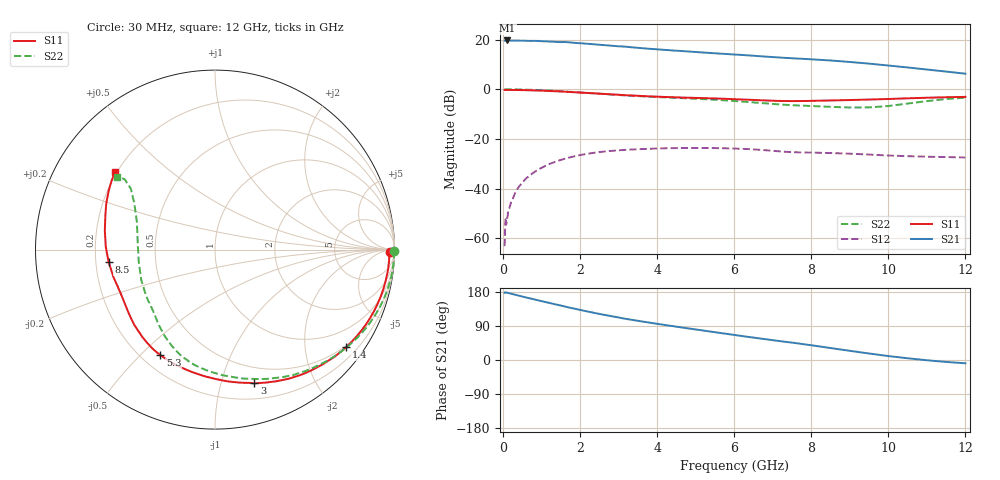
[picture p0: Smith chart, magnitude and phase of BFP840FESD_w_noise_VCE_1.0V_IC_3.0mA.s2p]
! Infineon Technologies  Discrete & RF Semiconductors
! BFP840FESD
! VCE =  1.0 V,  IC =  3.0 mA
! Common Emitter S-Parameters:  May 2012
# GHz  S  MA  R  50
!  f  S11  S21  S12  S22
! GHz  MAG  ANG  MAG  ANG  MAG  ANG  MAG  ANG
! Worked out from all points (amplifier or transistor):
!   103 points, 30 MHz to 12 GHz, reference 50 ohm
!   highest |S21| = 19.7 dB at 100 MHz (marker M1)
!   |S21| within 3 dB of that: start of sweep to 3.518 GHz
!   unconditionally stable (mu >= 1): 7.617 GHz to end of sweep
!   at 400 MHz: K = 0.02, MSG = 29.4 dB, |S12| = -39.3 dB
!   at 3.7 GHz: K = 0.27, MSG = 20.2 dB, |S12| = -24.0 dB
!   at 12 GHz: K = 1.45, MAG = 12.9 dB, |S12| = -27.4 dB
!   lowest NFmin = 0.51 dB at 450 MHz
!   S11 on the Smith chart (normalised r, x): 30 MHz: 57, -29; 1.4 GHz: 0.46, -2.96; 3 GHz: 0.34, -1.28; 5.3 GHz: 0.27, -0.57; 8.5 GHz: 0.25, -0.05; 12 GHz: 0.19, +0.33
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0.03  0.9726 -0.8  9.506 177.5  0.0007 90.0  0.9972 -0.6
0.04  0.9722 -1.0  9.507 177.3  0.0013 88.2  0.9979 -0.9
0.05  0.9716 -1.3  9.552 178.5  0.0022 88.0  0.9991 -1.2
0.06  0.9722 -1.7  9.546 178.3  0.0026 93.0  0.9991 -1.4
0.07  0.9723 -1.9  9.564 178.2  0.0019 91.1  0.9984 -1.6
0.1  0.9718 -2.7  9.607 177.4  0.0027 82.8  0.9974 -2.4
0.35  0.9678 -9.3  9.557 171.0  0.0096 83.7  0.9938 -8.6
0.8  0.95 -21.2  9.437 159.9  0.0215 73.9  0.9717 -19.6
1.4  0.9115 -36.6  8.955 145.7  0.0361 61.5  0.9232 -34.1
1.7  0.8845 -44.3  8.809 138.5  0.0422 55.4  0.8932 -41.5
2.1  0.8522 -53.9  8.342 129.8  0.0492 47.7  0.8531 -51.0
2.5  0.8171 -62.9  7.869 121.5  0.0547 40.7  0.8142 -59.8
3  0.7768 -73.6  7.321 112.1  0.0593 33.1  0.7677 -69.8
3.6  0.7338 -85.6  6.712 101.6  0.0629 25.4  0.7222 -80.7
4.1  0.7064 -95.3  6.282 93.9  0.0648 19.8  0.6934 -88.5
5.3  0.6616 -117.5  5.427 76.1  0.066 8.2  0.6284 -105.7
6.1  0.6276 -131.5  4.966 64.6  0.0639 1.4  0.5748 -116.7
7.2  0.5833 -150.7  4.348 49.6  0.0563 -4.5  0.495 -132.8
8.5  0.5967 -173.4  3.797 31.5  0.0523 -4.1  0.444 -157.9
9.5  0.6229 170.2  3.284 17.1  0.0487 -4.7  0.4328 174.5
10.5  0.659 156.8  2.75 4.6  0.0452 -1.7  0.5172 150.3
12  0.7042 142.0  2.061 -8.7  0.0426 6.9  0.679 143.2
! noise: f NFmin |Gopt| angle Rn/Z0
0.45  0.51  0.62  7  0.22
0.9  0.57  0.59  13  0.22
1.5  0.62  0.54  20  0.21
1.9  0.64  0.5  28  0.21
2.4  0.67  0.47  35  0.22
3.5  0.69  0.45  54  0.2
5.5  0.79  0.34  90  0.15
8  1.02  0.29  149  0.12
10  1.24  0.31  -165  0.11
12  1.41  0.48  -132  0.14
